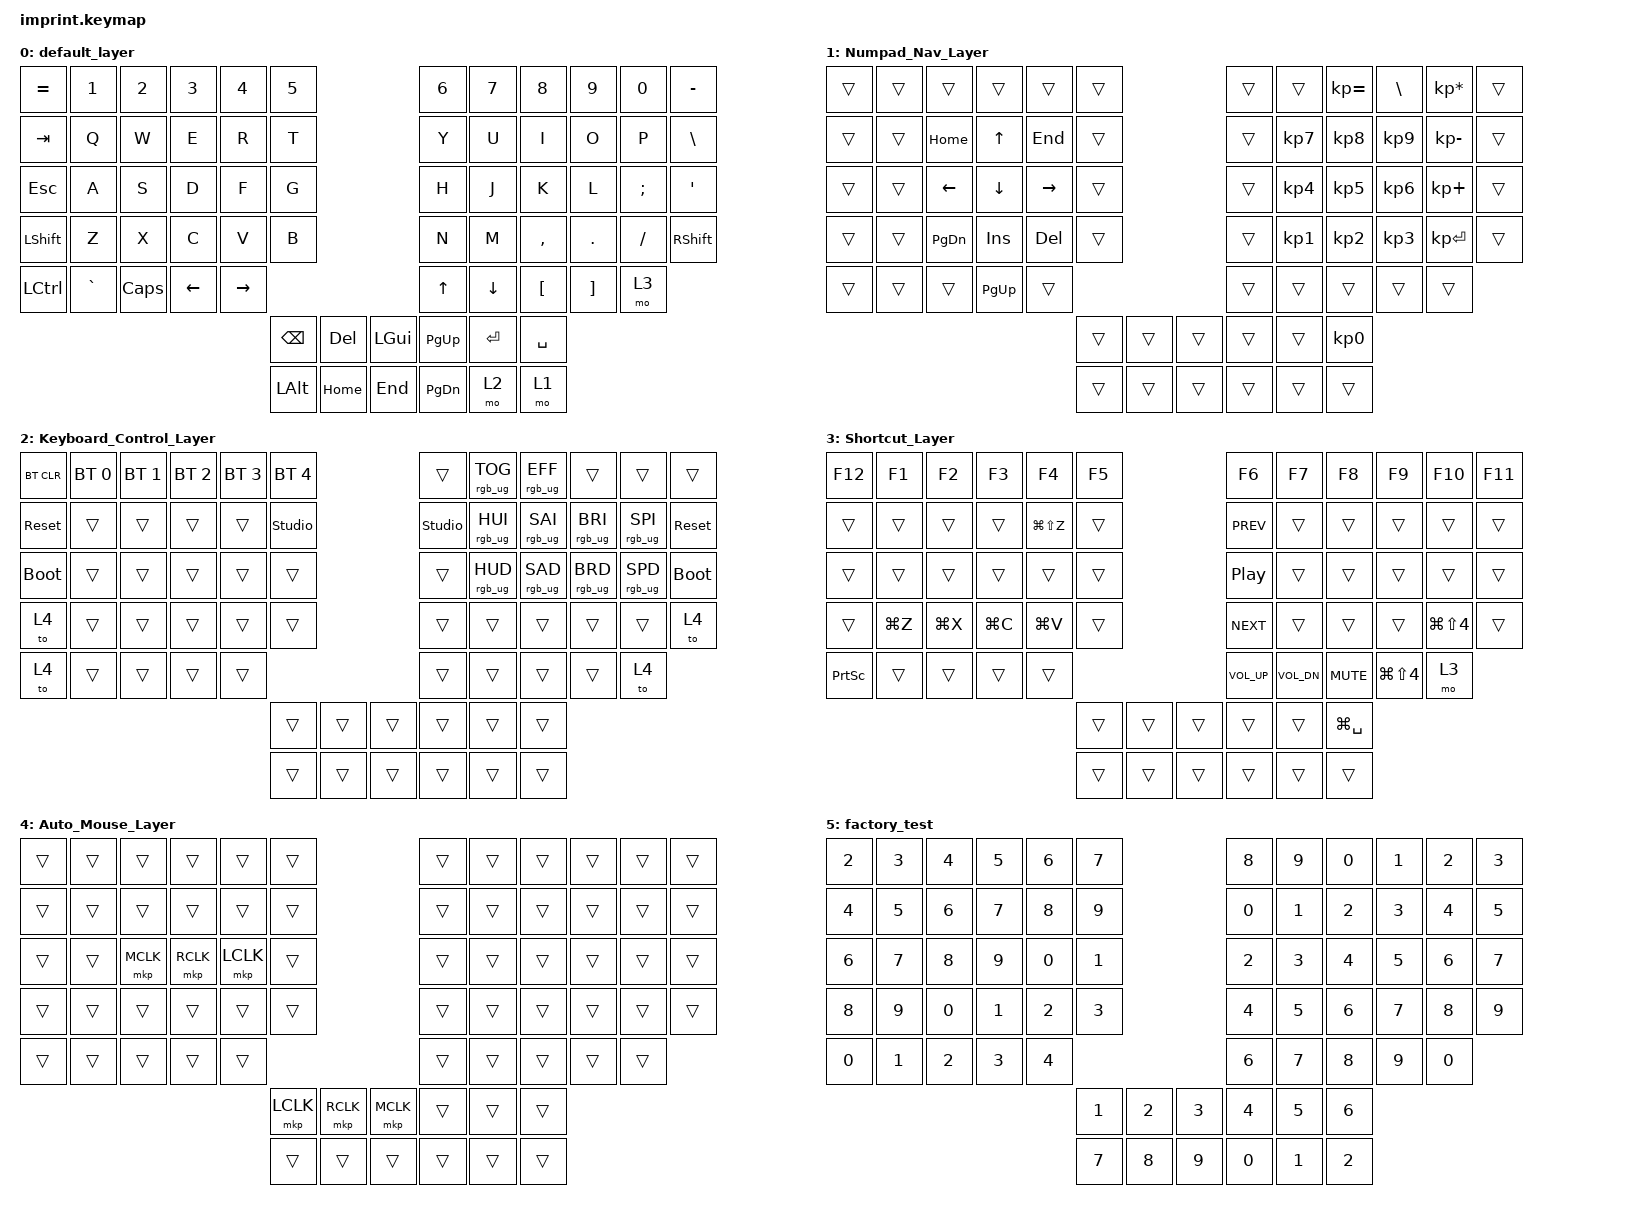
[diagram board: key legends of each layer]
#include <input/processors.dtsi>
#include <dt-bindings/zmk/input_transform.h>
#include <behaviors.dtsi>
#include <dt-bindings/zmk/bt.h>
#include <dt-bindings/zmk/keys.h>
#include <dt-bindings/zmk/pointing.h>
#include <dt-bindings/zmk/rgb.h>

/ {
    chosen { zmk,matrix-transform = &imprint_number_row_full_bottom_row;
    };
    keymap {
        compatible = "zmk,keymap";

        default_layer {
            bindings = <
 &kp EQUAL    &kp N1    &kp N2    &kp N3    &kp N4  &kp N5                                         &kp N6      &kp N7     &kp N8    &kp N9   &kp N0   &kp MINUS
 &kp TAB    &kp Q     &kp W     &kp E     &kp R   &kp T                                          &kp Y       &kp U      &kp I     &kp O    &kp P    &kp BSLH
 &kp ESC  &kp A     &kp S     &kp D     &kp F   &kp G                                          &kp H       &kp J      &kp K     &kp L    &kp SEMI &kp SQT
 &kp LSHFT  &kp Z     &kp X     &kp C     &kp V   &kp B                                          &kp N       &kp M      &kp COMMA &kp DOT  &kp FSLH &kp RSHFT
 &kp LCTRL     &kp GRAVE &kp CAPS  &kp LEFT  &kp RIGHT                                &kp UP   &kp DOWN   &kp LBKT  &kp RBKT  &mo 3
                                                  &kp BSPC &kp DEL &kp LGUI    &kp PG_UP &kp RET  &kp SPACE
                                                  &kp LALT &kp HOME &kp END     &kp PG_DN  &mo 2    &mo 1
            >;
        };

        Numpad_Nav_Layer {
            bindings = <
 &trans  &trans  &trans  &trans  &trans  &trans                                     &trans  &trans   &kp KP_EQUAL  &kp BSLH   &kp KP_MULTIPLY &trans
 &trans  &trans  &kp HOME &kp UP   &kp END  &trans                                     &trans  &kp KP_N7 &kp KP_N8  &kp KP_N9  &kp KP_MINUS    &trans
 &trans  &trans  &kp LEFT &kp DOWN &kp RIGHT &trans                                     &trans  &kp KP_N4 &kp KP_N5  &kp KP_N6  &kp KP_PLUS     &trans
 &trans  &trans  &kp PG_DN &kp INS &kp DEL  &trans                                     &trans  &kp KP_N1 &kp KP_N2  &kp KP_N3  &kp KP_ENTER    &trans
&trans  &trans  &trans  &kp PG_UP  &trans                            &trans    &trans    &trans     &trans  &trans
                                      &trans  &trans &trans       &trans  &trans &kp KP_N0
                                      &trans  &trans &trans       &trans  &trans &trans
            >;
        };

        Keyboard_Control_Layer {
            bindings = <
 &bt BT_CLR  &bt BT_SEL 0 &bt BT_SEL 1 &bt BT_SEL 2 &bt BT_SEL 3 &bt BT_SEL 4           &trans         &rgb_ug RGB_TOG  &rgb_ug RGB_EFF &trans          &trans          &trans
 &sys_reset      &trans  &trans  &trans  &trans  &studio_unlock                             &studio_unlock &rgb_ug RGB_HUI  &rgb_ug RGB_SAI &rgb_ug RGB_BRI &rgb_ug RGB_SPI &sys_reset
 &bootloader &trans  &trans  &trans  &trans  &trans                                     &trans         &rgb_ug RGB_HUD  &rgb_ug RGB_SAD &rgb_ug RGB_BRD &rgb_ug RGB_SPD &bootloader
 &to 4      &trans  &trans  &trans  &trans  &trans                                     &trans         &trans           &trans          &trans          &trans          &to 4
&to 4        &trans        &trans        &trans        &trans                                        &trans           &trans           &trans           &trans           &to 4
                                         &trans  &trans &trans        &trans &trans &trans
                                         &trans  &trans &trans        &trans &trans &trans
            >;
        };

        Shortcut_Layer {
            bindings = <
 &kp F12  &kp F1   &kp F2   &kp F3   &kp F4   &kp F5                                         &kp F6   &kp F7   &kp F8   &kp F9   &kp F10  &kp F11
 &trans   &trans   &trans   &trans  &kp LG(LS(Z))   &trans                                         &kp C_PREV  &trans  &trans   &trans   &trans   &trans
 &trans   &trans  &trans   &trans   &trans   &trans                                         &kp C_PP   &trans  &trans   &trans   &trans   &trans
 &trans   &kp LG(Z) &kp LG(X) &kp LG(C) &kp LG(V) &trans                                     &kp C_NEXT &trans  &trans   &trans   &kp LG(LS(N4))  &trans
 &kp PSCRN   &trans  &trans  &trans  &trans                                   &kp C_VOL_UP   &kp C_VOL_DN   &kp C_MUTE  &kp LG(LS(N4))  &mo 3
                                                  &trans  &trans &trans    &trans &trans &kp LG(SPACE)
                                                  &trans  &trans &trans    &trans &trans &trans
            >;
        };

        Auto_Mouse_Layer {
            bindings = <
 &trans  &trans  &trans  &trans  &trans  &trans                                     &trans  &trans  &trans  &trans  &trans  &trans
 &trans  &trans  &trans  &trans  &trans  &trans                                     &trans  &trans  &trans  &trans  &trans  &trans
 &trans  &trans  &mkp MCLK  &mkp RCLK  &mkp LCLK  &trans                            &trans  &trans  &trans  &trans  &trans  &trans
 &trans  &trans  &trans  &trans  &trans  &trans                                     &trans  &trans  &trans  &trans  &trans  &trans
 &trans  &trans  &trans  &trans  &trans                                             &trans  &trans  &trans  &trans  &trans
                                         &mkp LCLK  &mkp RCLK  &mkp MCLK        &trans &trans &trans
                                         &trans  &trans &trans        &trans &trans &trans
            >;
        };

        factory_test {
            bindings = <
&kp N2  &kp N3  &kp N4  &kp N5  &kp N6  &kp N7            &kp N8  &kp N9  &kp N0  &kp N1  &kp N2  &kp N3
&kp N4  &kp N5  &kp N6  &kp N7  &kp N8  &kp N9            &kp N0  &kp N1  &kp N2  &kp N3  &kp N4  &kp N5
&kp N6  &kp N7  &kp N8  &kp N9  &kp N0  &kp N1            &kp N2  &kp N3  &kp N4  &kp N5  &kp N6  &kp N7
&kp N8  &kp N9  &kp N0  &kp N1  &kp N2  &kp N3            &kp N4  &kp N5  &kp N6  &kp N7  &kp N8  &kp N9
&kp N0  &kp N1  &kp N2  &kp N3  &kp N4                            &kp N6  &kp N7  &kp N8  &kp N9  &kp N0
                                &kp N1  &kp N2  &kp N3    &kp N4  &kp N5  &kp N6
                                &kp N7  &kp N8  &kp N9    &kp N0  &kp N1  &kp N2
            >;
        };
    };
};

// right hand trackball configuration

&trackball_peripheral_listener {
    input-processors =
        // activate layer 4 within 500ms of the trackball moving
        <&zip_temp_layer 4 500>;
};

//left hand trackball configuration

&trackball_central_listener {
    input-processors =
        // multiply sensitivity by 1, divide by 3 (make it slower for scrolling),
        <&zip_xy_scaler 1 3>,
        // make this trackball output scrolling events by default instead of cursor movement,
        <&zip_xy_to_scroll_mapper>,
        // invert vertical scrolling so that the view moves in the same direction as the top of the trackball.,
        <&zip_scroll_transform INPUT_TRANSFORM_Y_INVERT>;
};
